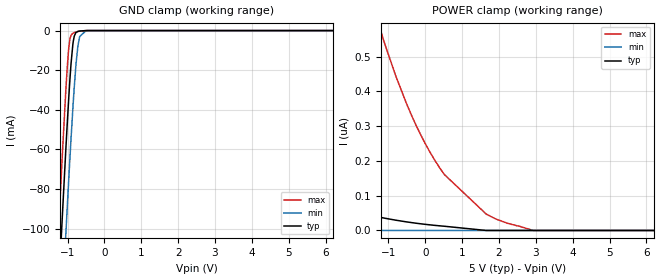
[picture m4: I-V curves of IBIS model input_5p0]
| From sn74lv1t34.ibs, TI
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|   input_5p0 Model
[Model]   input_5p0
Model_type   Input
Vinl = 0.8
Vinh = 2.02
|   typ   min   max
|   (nom PVT)   (fast PVT)   (slow PVT)
C_comp   6.617e-13   6.575e-13   6.682e-13
[Model spec]
|subparameter
Vinl   0.8   0.8   0.8
Vinh   2.02   2.02   2.1
| Where nom  PVT is Nominal Process, 5V, 40C
|   Fast PVT is Strong Process,  5.5V, -40C
|   Slow PVT is Weak Process,   4.5V, 140C
[Voltage Range]   5   4.5   5.5
|Junction Temperature
[Temperature Range]   40   140   -40
[Power Clamp Reference]   5   4.5   5.5
[GND Clamp Reference]   0   0   0
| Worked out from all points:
|   GND clamp passes 1 mA (typ) near -0.77 V on its own axis
[GND Clamp]
|   Voltage   I(typ)   I(min)   I(max)
-5V       -1.648A    -1.673A    -1.629A
-1.293V   -150.7mA   -194mA     -120mA
-1.188V   -111.4mA   -154.8mA   -80.32mA
-1.145V   -95.32mA   -138.7mA   -64.31mA
-1.044V   -59.51mA   -102.3mA   -29.66mA
-935.5mV  -24.83mA   -64.67mA   -4.359mA
-855mV    -6.918mA   -39.25mA   -1.347mA
-815mV    -2.714mA   -27.97mA   -1.014mA
-720.5mV  -422.8uA   -8.06mA    -466.3uA
-671mV    -222.5uA   -3.027mA   -270.6uA
-500mV    -17.58uA   -70.52uA   -15.37uA
10V       0A         0A         0A
[POWER Clamp]
|   Voltage   I(typ)   I(min)   I(max)
-5V       202.7nA    13.47nA    2.878uA
-3.326V   106.5nA    10.11nA    1.606uA
-3.053V   94.62nA    0A         1.437uA
-1.37V    41.17nA    0A         630.2nA
-1.14V    36.15nA    0A         550.1nA
-792.5mV  29.44nA    0A         441.9nA
-374.5mV  22.65nA    0A         331.5nA
384.5mV   13.41nA    0A         181.1nA
1.655V    0A         0A         46.98nA
2.238V    0A         0A         20.49nA
2.925V    0A         0A         0A
10V       0A         0A         0A
